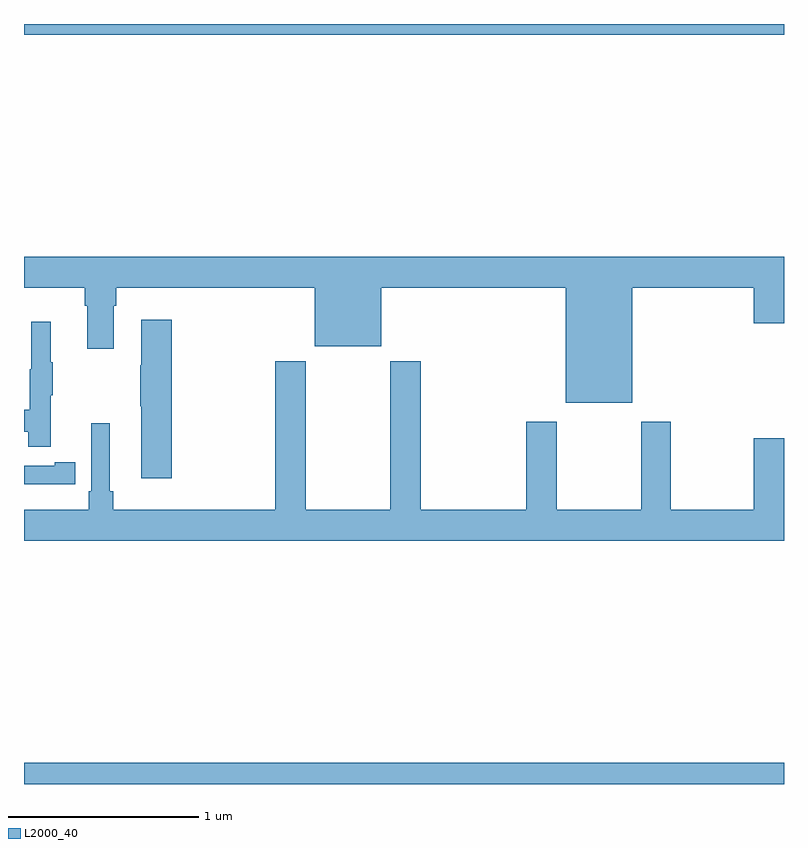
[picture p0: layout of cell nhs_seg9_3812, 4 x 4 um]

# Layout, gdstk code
import gdstk
lib = gdstk.Library(unit=1e-6, precision=1e-09)
def R(c, l, rs):  # rectangles x0, y0, x1, y1
    for r in rs: c.add(gdstk.rectangle(r[:2], r[2:], *l))
def P(c, l, *ps):  # polygons
    for p in ps: c.add(gdstk.Polygon(p, *l))
L2000_40 = (2000, 40)

nhs_seg9_3812 = lib.new_cell('nhs_seg9_3812')
R(nhs_seg9_3812, L2000_40, [(329,1168.5,333,1168.612), (329,1172.444,333,1172.5)])
P(nhs_seg9_3812, L2000_40, [(332.2,1171.112),(332.84,1171.112),(332.84,1170.924),(333,1170.924),(333,1171.276),(329,1171.276),(329,1171.112),(329.321,1171.112),(329.321,1171.016),(329.333,1171.016),(329.333,1170.792),(329.473,1170.792),(329.473,1171.016),(329.486,1171.016),(329.486,1171.112),(330.53,1171.112),(330.53,1170.803),(330.88,1170.803),(330.88,1171.112),(331.85,1171.112),(331.85,1170.506),(332.2,1170.506)],
  [(329.777,1170.943),(329.618,1170.943),(329.618,1170.704),(329.611,1170.704),(329.611,1170.487),(329.618,1170.487),(329.618,1170.108),(329.777,1170.108)],
  [(329.141,1170.547),(329.152,1170.547),(329.152,1170.721),(329.141,1170.721),(329.141,1170.934),(329.038,1170.934),(329.038,1170.684),(329.031,1170.684),(329.031,1170.47),(329,1170.47),(329,1170.354),(329.023,1170.354),(329.023,1170.276),(329.141,1170.276)],
  [(333,1170.319),(332.84,1170.319),(332.84,1169.944),(332.403,1169.944),(332.403,1170.406),(332.248,1170.406),(332.248,1169.944),(331.803,1169.944),(331.803,1170.406),(331.643,1170.406),(331.643,1169.944),(331.088,1169.944),(331.088,1170.724),(330.928,1170.724),(330.928,1169.944),(330.483,1169.944),(330.483,1170.724),(330.323,1170.724),(330.323,1169.944),(329.471,1169.944),(329.471,1170.04),(329.452,1170.04),(329.452,1170.4),(329.355,1170.4),(329.355,1170.04),(329.342,1170.04),(329.342,1169.944),(329,1169.944),(329,1169.78),(333,1169.78)],
  [(329.162,1170.078),(329.27,1170.078),(329.27,1170.194),(329.162,1170.194),(329.162,1170.174),(329,1170.174),(329,1170.077),(329.162,1170.077)])

lib.write_gds('nhs_seg9_3812.gds')
